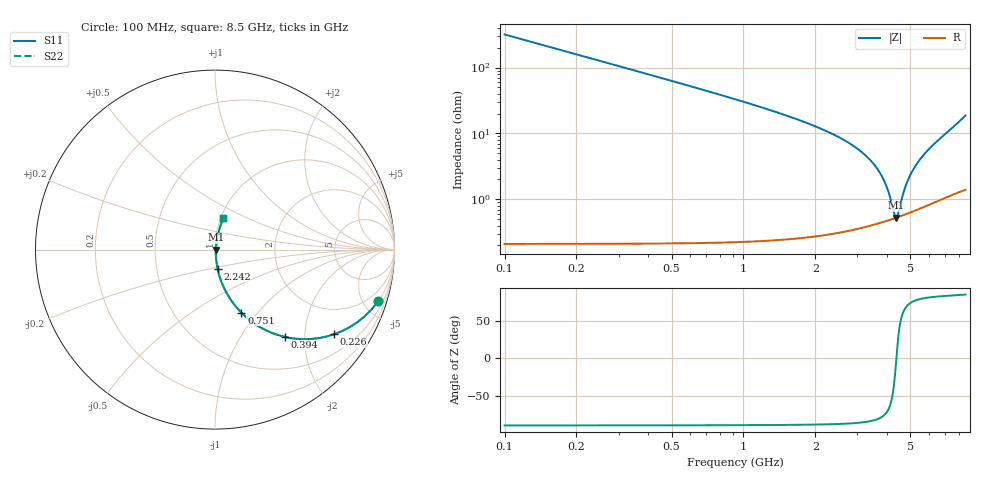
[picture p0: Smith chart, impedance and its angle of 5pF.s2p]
!Murata Part Number: GRM0335C1E5R0CA01
!These Parameters are Measured in Series Mode Connection
!  o--ll--o
!Port1  Port2
!  o------o
!Operation Temp=25[degC], DC Bias Voltage=0[V]
!Freq. Start=100[MHz] Stop=8.5[GHz], 401[Steps]
!Data Generated on Jan 10, 2017
# Hz S RI R 50
!Freq.(Hz) S11(Real) S11(Imag) S21(Real) S21(Imag) S12(Real) S12(Imag) S22(Real) S22(Imag)
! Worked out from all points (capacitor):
!   401 points, 100 MHz to 8.5 GHz, reference 50 ohm
!   read as one part in series: C = 5 pF near 142 MHz
!   lowest |Z| = 527 mohm at 4.363 GHz (marker M1)
!   series resonance near 4.368 GHz, so ESL is about 270 pH
!   S11 on the Smith chart (normalised r, x): 100 MHz: 1.00, -6.36; 226 MHz: 1.00, -2.81; 394 MHz: 1.00, -1.60; 751 MHz: 1.00, -0.82; 2.242 GHz: 1.01, -0.21; 8.5 GHz: 1.03, +0.37
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1e8  0.9099 -0.2859  0.0901 0.2859  0.0901 0.2859  0.9099 -0.2859
2.26e8  0.6635 -0.4718  0.3365 0.4718  0.3365 0.4718  0.6635 -0.4718
3.94e8  0.3917 -0.4868  0.6083 0.4868  0.6083 0.4868  0.3917 -0.4868
5.62e8  0.2382 -0.4241  0.7618 0.4241  0.7618 0.4241  0.2382 -0.4241
7.51e8  0.1467 -0.3512  0.8533 0.3512  0.8533 0.3512  0.1467 -0.3512
1.045e9  0.0787 -0.2653  0.9213 0.2653  0.9213 0.2653  0.0787 -0.2653
1.507e9  0.0364 -0.1808  0.9636 0.1808  0.9636 0.1808  0.0364 -0.1808
2.242e9  0.0141 -0.1053  0.9859 0.1053  0.9859 0.1053  0.0141 -0.1053
2.914e9  0.00739 -0.0625  0.9926 0.0625  0.9926 0.0625  0.00739 -0.0625
3.418e9  0.00542 -0.0379  0.9946 0.0379  0.9946 0.0379  0.00542 -0.0379
3.775e9  0.00493 -0.0227  0.9951 0.0227  0.9951 0.0227  0.00493 -0.0227
4.027e9  0.00491 -0.0128  0.9951 0.0128  0.9951 0.0128  0.00491 -0.0128
4.3e9  0.00515 -0.0025  0.9949 0.0025  0.9949 0.0025  0.00515 -0.0025
4.363e9  0.00523 -0.000185  0.9948 0.000185  0.9948 0.000185  0.00523 -0.000185
4.447e9  0.00537 0.00286  0.9946 -0.00286  0.9946 -0.00286  0.00537 0.00286
4.72e9  0.00596 0.0126  0.994 -0.0126  0.994 -0.0126  0.00596 0.0126
4.93e9  0.00655 0.0199  0.9934 -0.0199  0.9934 -0.0199  0.00655 0.0199
5.266e9  0.00775 0.0315  0.9922 -0.0315  0.9922 -0.0315  0.00775 0.0315
5.707e9  0.0098 0.0467  0.9902 -0.0467  0.9902 -0.0467  0.0098 0.0467
6.295e9  0.0135 0.0675  0.9865 -0.0675  0.9865 -0.0675  0.0135 0.0675
7.114e9  0.0208 0.0997  0.9792 -0.0997  0.9792 -0.0997  0.0208 0.0997
8.5e9  0.0461 0.1757  0.9539 -0.1757  0.9539 -0.1757  0.0461 0.1757
